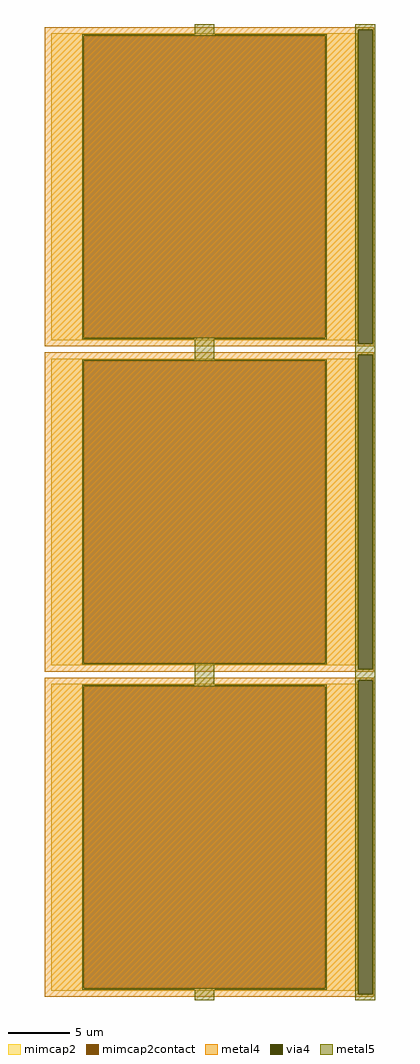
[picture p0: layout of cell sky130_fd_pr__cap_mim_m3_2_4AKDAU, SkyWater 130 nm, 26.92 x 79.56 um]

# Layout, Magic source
magic
tech sky130A
magscale 1 2
<< metal4 >>
rect -2681 7865 2681 7906
rect -2681 2743 2425 7865
rect 2661 2743 2681 7865
rect -2681 2702 2681 2743
rect -2681 2561 2681 2602
rect -2681 -2561 2425 2561
rect 2661 -2561 2681 2561
rect -2681 -2602 2681 -2561
rect -2681 -2743 2681 -2702
rect -2681 -7865 2425 -2743
rect 2661 -7865 2681 -2743
rect -2681 -7906 2681 -7865
<< via4 >>
rect 2425 2743 2661 7865
rect 2425 -2561 2661 2561
rect 2425 -7865 2661 -2743
<< mimcap2 >>
rect -2581 7766 2423 7806
rect -2581 2842 -2049 7766
rect 1891 2842 2423 7766
rect -2581 2802 2423 2842
rect -2581 2462 2423 2502
rect -2581 -2462 -2049 2462
rect 1891 -2462 2423 2462
rect -2581 -2502 2423 -2462
rect -2581 -2842 2423 -2802
rect -2581 -7766 -2049 -2842
rect 1891 -7766 2423 -2842
rect -2581 -7806 2423 -7766
<< mimcap2contact >>
rect -2049 2842 1891 7766
rect -2049 -2462 1891 2462
rect -2049 -7766 1891 -2842
<< metal5 >>
rect -239 7790 81 7956
rect 2383 7865 2703 7956
rect -2073 7766 1915 7790
rect -2073 2842 -2049 7766
rect 1891 2842 1915 7766
rect -2073 2818 1915 2842
rect -239 2486 81 2818
rect 2383 2743 2425 7865
rect 2661 2743 2703 7865
rect 2383 2561 2703 2743
rect -2073 2462 1915 2486
rect -2073 -2462 -2049 2462
rect 1891 -2462 1915 2462
rect -2073 -2486 1915 -2462
rect -239 -2818 81 -2486
rect 2383 -2561 2425 2561
rect 2661 -2561 2703 2561
rect 2383 -2743 2703 -2561
rect -2073 -2842 1915 -2818
rect -2073 -7766 -2049 -2842
rect 1891 -7766 1915 -2842
rect -2073 -7790 1915 -7766
rect -239 -7956 81 -7790
rect 2383 -7865 2425 -2743
rect 2661 -7865 2703 -2743
rect 2383 -7956 2703 -7865
<< properties >>
string FIXED_BBOX -2681 2702 2523 7906
string gencell sky130_fd_pr__cap_mim_m3_2
string library sky130
string parameters w 25.019 l 25.019 val 1.27k carea 2.00 cperi 0.19 nx 1 ny 3 dummy 0 square 0 lmin 2.00 wmin 2.00 lmax 30.0 wmax 30.0 dc 0 bconnect 1 tconnect 1 ccov 80
<< end >>
